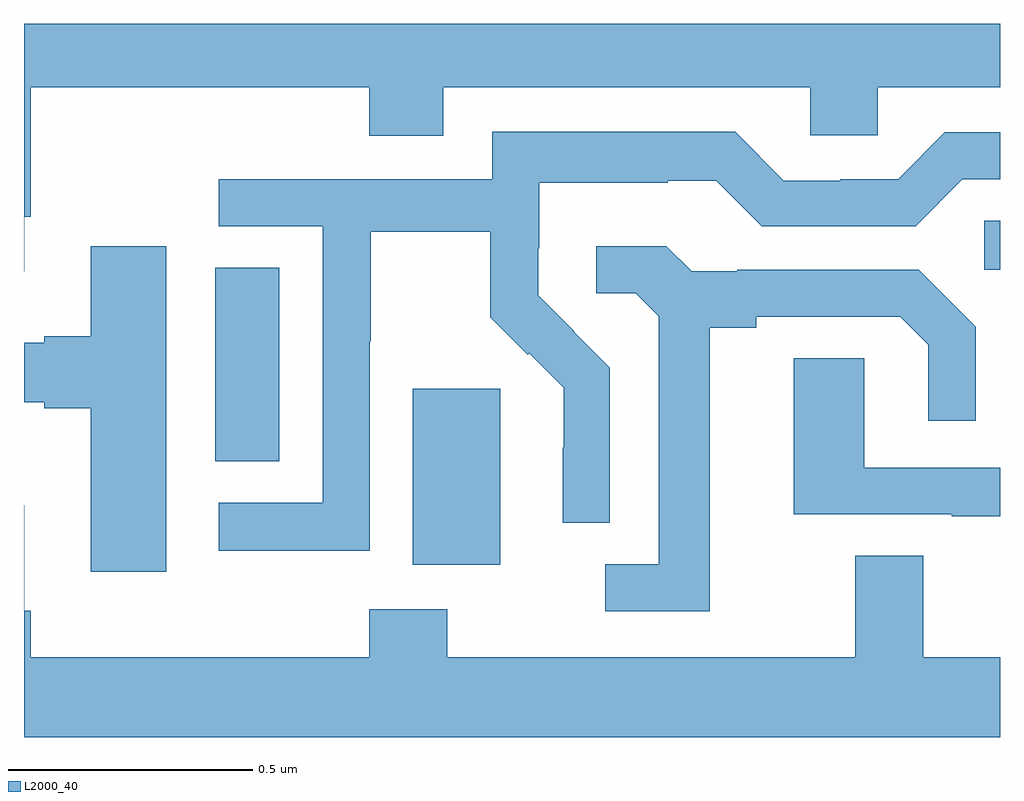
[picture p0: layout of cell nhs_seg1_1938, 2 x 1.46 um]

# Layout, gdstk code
import gdstk
lib = gdstk.Library(unit=1e-6, precision=1e-09)
def R(c, l, rs):  # rectangles x0, y0, x1, y1
    for r in rs: c.add(gdstk.rectangle(r[:2], r[2:], *l))
def P(c, l, *ps):  # polygons
    for p in ps: c.add(gdstk.Polygon(p, *l))
L2000_40 = (2000, 40)

nhs_seg1_1938 = lib.new_cell('nhs_seg1_1938')
R(nhs_seg1_1938, L2000_40, [(135.797,548.09,135.976,548.451), (135.392,548.302,135.523,548.699), (136.968,548.694,137,548.795)])
P(nhs_seg1_1938, L2000_40, [(135.001,548.803),(135.014,548.803),(135.014,549.068),(135.707,549.068),(135.707,548.969),(135.859,548.969),(135.859,549.068),(136.611,549.068),(136.611,548.97),(136.749,548.97),(136.749,549.068),(137,549.068),(137,549.199),(135,549.199),(135,548.691),(135.001,548.691)],
  [(135.708,548.548),(135.711,548.548),(135.711,548.772),(135.955,548.772),(135.955,548.597),(136.032,548.52),(136.035,548.523),(136.106,548.453),(136.106,548.33),(136.104,548.33),(136.104,548.176),(136.2,548.176),(136.2,548.494),(136.127,548.567),(136.128,548.568),(136.054,548.642),(136.054,548.739),(136.056,548.739),(136.056,548.873),(136.319,548.873),(136.319,548.877),(136.419,548.877),(136.512,548.784),(136.827,548.784),(136.923,548.88),(137,548.88),(137,548.976),(136.887,548.976),(136.791,548.88),(136.673,548.88),(136.673,548.877),(136.557,548.877),(136.457,548.977),(135.96,548.977),(135.96,548.88),(135.399,548.88),(135.399,548.784),(135.612,548.784),(135.612,548.217),(135.399,548.217),(135.399,548.119),(135.708,548.119)],
  [(136.405,548.576),(136.501,548.576),(136.501,548.598),(136.796,548.598),(136.853,548.541),(136.853,548.385),(136.95,548.385),(136.95,548.578),(136.834,548.694),(136.462,548.694),(136.462,548.691),(136.368,548.691),(136.316,548.743),(136.173,548.743),(136.173,548.646),(136.254,548.646),(136.301,548.599),(136.301,548.091),(136.191,548.091),(136.191,547.995),(136.405,547.995)],
  [(135.292,548.743),(135.137,548.743),(135.137,548.558),(135.041,548.558),(135.041,548.545),(135,548.545),(135,548.423),(135.041,548.423),(135.041,548.411),(135.137,548.411),(135.137,548.076),(135.292,548.076)],
  [(137,548.289),(136.722,548.289),(136.722,548.513),(136.577,548.513),(136.577,548.193),(136.901,548.193),(136.901,548.189),(137,548.189)],
  [(137,547.9),(136.843,547.9),(136.843,548.108),(136.703,548.108),(136.703,547.9),(135.867,547.9),(135.867,547.999),(135.707,547.999),(135.707,547.9),(135.014,547.9),(135.014,547.996),(135.001,547.996),(135.001,548.212),(135,548.212),(135,547.736),(137,547.736)])

lib.write_gds('nhs_seg1_1938.gds')
